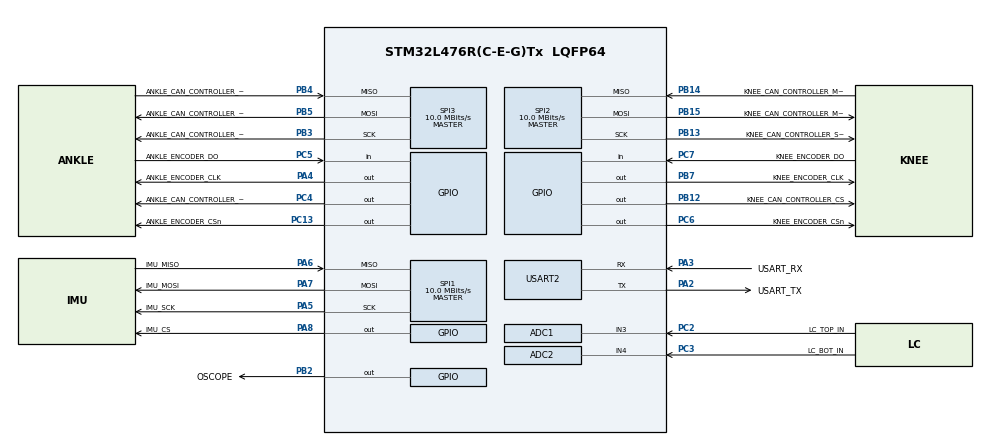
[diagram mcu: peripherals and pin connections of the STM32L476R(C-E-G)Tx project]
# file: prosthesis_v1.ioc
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ADC1.Channel-5\#ChannelRegularConversion=ADC_CHANNEL_3
ADC1.NbrOfConversionFlag=1
ADC1.OffsetNumber-5\#ChannelRegularConversion=ADC_OFFSET_NONE
ADC1.Rank-5\#ChannelRegularConversion=1
ADC1.SamplingTime-5\#ChannelRegularConversion=ADC_SAMPLETIME_2CYCLES_5
ADC1.master=1
ADC2.Channel-1\#ChannelRegularConversion=ADC_CHANNEL_4
ADC2.NbrOfConversionFlag=1
ADC2.OffsetNumber-1\#ChannelRegularConversion=ADC_OFFSET_NONE
ADC2.Rank-1\#ChannelRegularConversion=1
ADC2.SamplingTime-1\#ChannelRegularConversion=ADC_SAMPLETIME_2CYCLES_5
LPTIM2.ClockPrescaler=LPTIM_PRESCALER_DIV1
Mcu.Family=STM32L4
Mcu.Name=STM32L476R(C-E-G)Tx
Mcu.Package=LQFP64
NVIC.LPTIM2_IRQn=true\:0\:0\:false\:false\:true\:true\:true\:true
NVIC.PriorityGroup=NVIC_PRIORITYGROUP_4
PA13\ (JTMS-SWDIO).GPIO_Label=TMS
PA13\ (JTMS-SWDIO).Mode=Serial_Wire
PA13\ (JTMS-SWDIO).Signal=SYS_JTMS-SWDIO
PA14\ (JTCK-SWCLK).GPIO_Label=TCK
PA14\ (JTCK-SWCLK).Mode=Serial_Wire
PA14\ (JTCK-SWCLK).Signal=SYS_JTCK-SWCLK
PA2.GPIO_Label=USART_TX
PA2.GPIO_Mode=GPIO_MODE_AF_PP
PA2.GPIO_PuPd=GPIO_NOPULL
PA2.GPIO_Speed=GPIO_SPEED_FREQ_VERY_HIGH
PA2.Mode=Asynchronous
PA2.Signal=USART2_TX
PA3.GPIO_Label=USART_RX
PA3.GPIO_Mode=GPIO_MODE_AF_PP
PA3.GPIO_PuPd=GPIO_NOPULL
PA3.GPIO_Speed=GPIO_SPEED_FREQ_VERY_HIGH
PA3.Mode=Asynchronous
PA3.Signal=USART2_RX
PA4.GPIO_Label=ANKLE_ENCODER_CLK
PA4.Signal=GPIO_Output
PA5.GPIO_Label=IMU_SCK
PA5.Mode=Full_Duplex_Master
PA5.Signal=SPI1_SCK
PA6.GPIO_Label=IMU_MISO
PA6.Mode=Full_Duplex_Master
PA6.Signal=SPI1_MISO
PA7.GPIO_Label=IMU_MOSI
PA7.Mode=Full_Duplex_Master
PA7.Signal=SPI1_MOSI
PA8.GPIO_Label=IMU_CS
PA8.Signal=GPIO_Output
PB12.GPIO_Label=KNEE_CAN_CONTROLLER_CS
PB12.Signal=GPIO_Output
PB13.GPIO_Label=KNEE_CAN_CONTROLLER_SCK
PB13.Mode=Full_Duplex_Master
PB13.Signal=SPI2_SCK
PB14.GPIO_Label=KNEE_CAN_CONTROLLER_MISO
PB14.Mode=Full_Duplex_Master
PB14.Signal=SPI2_MISO
PB15.GPIO_Label=KNEE_CAN_CONTROLLER_MOSI
PB15.Mode=Full_Duplex_Master
PB15.Signal=SPI2_MOSI
PB2.GPIO_Label=OSCOPE
PB2.Signal=GPIO_Output
PB3\ (JTDO-TRACESWO).GPIO_Label=ANKLE_CAN_CONTROLLER_SCK
PB3\ (JTDO-TRACESWO).Mode=Full_Duplex_Master
PB3\ (JTDO-TRACESWO).Signal=SPI3_SCK
PB4\ (NJTRST).GPIO_Label=ANKLE_CAN_CONTROLLER_MISO
PB4\ (NJTRST).Mode=Full_Duplex_Master
PB4\ (NJTRST).Signal=SPI3_MISO
PB5.GPIO_Label=ANKLE_CAN_CONTROLLER_MOSI
PB5.Mode=Full_Duplex_Master
PB5.Signal=SPI3_MOSI
PB7.GPIO_Label=KNEE_ENCODER_CLK
PB7.Signal=GPIO_Output
PC13.GPIO_Label=ANKLE_ENCODER_CSn
PC13.Signal=GPIO_Output
PC14-OSC32_IN\ (PC14).Mode=LSE-External-Oscillator
PC14-OSC32_IN\ (PC14).Signal=RCC_OSC32_IN
PC15-OSC32_OUT\ (PC15).Mode=LSE-External-Oscillator
PC15-OSC32_OUT\ (PC15).Signal=RCC_OSC32_OUT
PC2.GPIO_Label=LC_TOP_IN
PC2.Signal=ADCx_IN3
PC3.GPIO_Label=LC_BOT_IN
PC3.Signal=ADCx_IN4
PC4.GPIO_Label=ANKLE_CAN_CONTROLLER_CS
PC4.Signal=GPIO_Output
PC5.GPIO_Label=ANKLE_ENCODER_DO
PC5.Signal=GPIO_Input
PC6.GPIO_Label=KNEE_ENCODER_CSn
PC6.Signal=GPIO_Output
PC7.GPIO_Label=KNEE_ENCODER_DO 
PC7.Signal=GPIO_Input
ProjectManager.HeapSize=0x200
ProjectManager.StackSize=0x400
ProjectManager.TargetToolchain=STM32CubeIDE
RCC.ADCCLockSelection=RCC_ADCCLKSOURCE_SYSCLK
RCC.ADCFreq_Value=80000000
RCC.AHBFreq_Value=80000000
RCC.APB1CLKDivider=RCC_HCLK_DIV2
RCC.APB1Freq_Value=40000000
RCC.APB1TimFreq_Value=80000000
RCC.APB2CLKDivider=RCC_HCLK_DIV2
RCC.APB2Freq_Value=40000000
RCC.APB2TimFreq_Value=80000000
RCC.CortexFreq_Value=80000000
RCC.HCLKFreq_Value=80000000
RCC.HSE_VALUE=8000000
RCC.HSI_VALUE=16000000
RCC.LPTIM2CLockSelection=RCC_LPTIM2CLKSOURCE_LSE
RCC.MSIClockRange=RCC_MSIRANGE_11
RCC.MSI_VALUE=48000000
RCC.PLLM=6
RCC.PLLN=40
RCC.PLLR=RCC_PLLR_DIV4
RCC.PREFETCH_ENABLE=1
RCC.SYSCLKFreq_VALUE=80000000
RCC.SYSCLKSource=RCC_SYSCLKSOURCE_PLLCLK
RCC.USBFreq_Value=32000000
RCC.VCOOutputFreq_Value=320000000
SH.ADCx_IN3.0=ADC1_IN3,IN3-Single-Ended
SH.ADCx_IN4.0=ADC2_IN4,IN4-Single-Ended
SPI1.BaudRatePrescaler=SPI_BAUDRATEPRESCALER_4
SPI1.CLKPhase=SPI_PHASE_2EDGE
SPI1.CLKPolarity=SPI_POLARITY_HIGH
SPI1.CRCCalculation=SPI_CRCCALCULATION_DISABLE
SPI1.CalculateBaudRate=10.0 MBits/s
SPI1.DataSize=SPI_DATASIZE_8BIT
SPI1.Direction=SPI_DIRECTION_2LINES
SPI1.Mode=SPI_MODE_MASTER
SPI1.VirtualType=VM_MASTER
SPI2.BaudRatePrescaler=SPI_BAUDRATEPRESCALER_4
SPI2.CLKPhase=SPI_PHASE_2EDGE
SPI2.CLKPolarity=SPI_POLARITY_HIGH
SPI2.CalculateBaudRate=10.0 MBits/s
SPI2.DataSize=SPI_DATASIZE_8BIT
SPI2.Direction=SPI_DIRECTION_2LINES
SPI2.Mode=SPI_MODE_MASTER
SPI2.VirtualType=VM_MASTER
SPI3.BaudRatePrescaler=SPI_BAUDRATEPRESCALER_4
SPI3.CLKPhase=SPI_PHASE_2EDGE
SPI3.CLKPolarity=SPI_POLARITY_HIGH
SPI3.CalculateBaudRate=10.0 MBits/s
SPI3.DataSize=SPI_DATASIZE_8BIT
SPI3.Direction=SPI_DIRECTION_2LINES
SPI3.Mode=SPI_MODE_MASTER
SPI3.VirtualType=VM_MASTER
TIM6.Prescaler=7
USART2.VirtualMode-Asynchronous=VM_ASYNC
VP_LPTIM2_VS_LPTIM_counterModeInternalClock.Mode=Counts__internal_clock_event_00
VP_TIM6_VS_ClockSourceINT.Mode=Enable_Timer
board=NUCLEO-L476RG

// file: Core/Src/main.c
/* USER CODE BEGIN Header */

/*******************************************************************************
*
* TITLE: Prosthesis v1 Firmware
*
* NOTES
* 1. IMPORTANT: A new encoder bias position must be found and defined whenever the magnet is reassembled into the device.
*    The bias can be found by logging data in CubeMonitor and averaging the encoder values.
* 2. The below lines can be used to measure PB2 on oscilloscope (#include main.h may need to be added to certain files):
*		- LL_GPIO_SetOutputPin(OSCOPE_GPIO_Port, OSCOPE_Pin);
*		- LL_GPIO_ResetOutputPin(OSCOPE_GPIO_Port, OSCOPE_Pin);
*		- LL_GPIO_TogglePin(OSCOPE_GPIO_Port, OSCOPE_Pin);
* 3. Search -> File on "* USER ADDED " will show code added to MX auto-generated files.
*
*******************************************************************************/

/* USER CODE END Header */
#include "main.h"
#include "adc.h"
#include "lptim.h"
#include "spi.h"
#include "tim.h"
#include "usart.h"
#include "gpio.h"

void SystemClock_Config(void);

/* USER CODE BEGIN 0 */

/*******************************************************************************
* USER ADDED MAIN.C
*******************************************************************************/

#include "as5145b.h"
#include "epos4.h"
#include "error_handler.h"
#include "mcp25625.h"
#include "mpu925x_spi.h"
#include "stm32l4xx_ll_tim.h"
#include <string.h>

#define LPTIM2_PERIOD 0x3F	// Timer frequency = timer clock frequency / (prescaler * (period + 1))

Prosthesis_Init_t Prosthesis_Init;

/******************************************************************************/

/* USER CODE END 0 */

int main(void)
{

  /* MCU Configuration--------------------------------------------------------*/

  /* Reset of all peripherals, Initializes the Flash interface and the Systick. */
  LL_APB2_GRP1_EnableClock(LL_APB2_GRP1_PERIPH_SYSCFG);
  LL_APB1_GRP1_EnableClock(LL_APB1_GRP1_PERIPH_PWR);

  /* System interrupt init*/
  NVIC_SetPriorityGrouping(NVIC_PRIORITYGROUP_4);

  /* Configure the system clock */
  SystemClock_Config();

  /* Initialize all configured peripherals */
  MX_GPIO_Init();
  MX_USART2_UART_Init();
  MX_SPI1_Init();
  MX_LPTIM2_Init();
  MX_SPI2_Init();
  MX_ADC2_Init();
  MX_ADC1_Init();
  MX_TIM6_Init();
  MX_SPI3_Init();

  /* Infinite loop */
  /* USER CODE BEGIN WHILE */

/*******************************************************************************
* USER ADDED DEFINITIONS
*******************************************************************************/

	AS5145B_Init_t Encoder_Init[AS5145B_NUMBER_OF_DEVICES];
	Encoder_Init[AnkleEncoderIndex].DO_GPIOx = ANKLE_ENCODER_DO_GPIO_Port;
	Encoder_Init[AnkleEncoderIndex].CLK_GPIOx = ANKLE_ENCODER_CLK_GPIO_Port;
	Encoder_Init[AnkleEncoderIndex].CSn_GPIOx = ANKLE_ENCODER_CSn_GPIO_Port;
	Encoder_Init[AnkleEncoderIndex].DO_Pin = ANKLE_ENCODER_DO_Pin;
	Encoder_Init[AnkleEncoderIndex].CLK_Pin = ANKLE_ENCODER_CLK_Pin;
	Encoder_Init[AnkleEncoderIndex].CSn_Pin = ANKLE_ENCODER_CSn_Pin;
	Encoder_Init[AnkleEncoderIndex].TIMx = TIM6;
	Encoder_Init[AnkleEncoderIndex].timerRateMHz = 10;

	memcpy(&Encoder_Init[KneeEncoderIndex], &Encoder_Init[AnkleEncoderIndex], sizeof(Encoder_Init[AnkleEncoderIndex]));
	Encoder_Init[KneeEncoderIndex].DO_GPIOx = KNEE_ENCODER_DO_GPIO_Port;
	Encoder_Init[KneeEncoderIndex].CLK_GPIOx = KNEE_ENCODER_CLK_GPIO_Port;
	Encoder_Init[KneeEncoderIndex].CSn_GPIOx = KNEE_ENCODER_CSn_GPIO_Port;
	Encoder_Init[KneeEncoderIndex].DO_Pin = KNEE_ENCODER_DO_Pin;
	Encoder_Init[KneeEncoderIndex].CLK_Pin = KNEE_ENCODER_CLK_Pin;
	Encoder_Init[KneeEncoderIndex].CSn_Pin = KNEE_ENCODER_CSn_Pin;

	EPOS4_Init_t MotorController_Init[EPOS4_NUMBER_OF_DEVICES];
	MotorController_Init[AnkleMotorControllerIndex].nodeId = 2;
	MotorController_Init[AnkleMotorControllerIndex].mcpIndex = AnkleCAN_ControllerIndex;
	MotorController_Init[AnkleMotorControllerIndex].Requirements.isFirstStepRequired = 1;
	MotorController_Init[AnkleMotorControllerIndex].Requirements.isModeOfOperationRequired = 1;
	MotorController_Init[AnkleMotorControllerIndex].FirstStep.CAN_BitRate = EPOS4_Rate1000Kbps;
	MotorController_Init[AnkleMotorControllerIndex].FirstStep.MotorType = EPOS4_TrapezoidalPmBlMotor;
	MotorController_Init[AnkleMotorControllerIndex].FirstStep.nominalCurrent = 8000;
	MotorController_Init[AnkleMotorControllerIndex].FirstStep.outputCurrentLimit = 29300;
	MotorController_Init[AnkleMotorControllerIndex].FirstStep.numberOfPolePairs = 21;
	MotorController_Init[AnkleMotorControllerIndex].FirstStep.thermalTimeConstantWinding = 400;
	MotorController_Init[AnkleMotorControllerIndex].FirstStep.torqueConstant = 60 / (2 * 3.1416f * 100) * 1000000;	// For Kv = 100 rpm/V
	MotorController_Init[AnkleMotorControllerIndex].FirstStep.maxMotorSpeed = 2384;
	MotorController_Init[AnkleMotorControllerIndex].FirstStep.maxGearInputSpeed = 100000;
	MotorController_Init[AnkleMotorControllerIndex].FirstStep.sensorsConfiguration = 0x00100000;
	MotorController_Init[AnkleMotorControllerIndex].FirstStep.controlStructure = 0x00030111;
	MotorController_Init[AnkleMotorControllerIndex].FirstStep.commutationSensors = 0x00000030;
	MotorController_Init[AnkleMotorControllerIndex].FirstStep.axisConfigMiscellaneous = 0x00000000;
	MotorController_Init[AnkleMotorControllerIndex].FirstStep.currentControllerP_Gain = 643609;
	MotorController_Init[AnkleMotorControllerIndex].FirstStep.currentControllerI_Gain = 2791837;
	MotorController_Init[AnkleMotorControllerIndex].ModeOfOperation = EPOS4_CyclicSynchronousTorqueMode;

	memcpy(&MotorController_Init[KneeMotorControllerIndex], &MotorController_Init[AnkleMotorControllerIndex], sizeof(MotorController_Init[AnkleMotorControllerIndex]));
	MotorController_Init[KneeMotorControllerIndex].nodeId = 1;
	MotorController_Init[KneeMotorControllerIndex].mcpIndex = KneeCAN_ControllerIndex;

  	MCP25625_Init_t CAN_Controller_Init[MCP25625_NUMBER_OF_DEVICES];
  	memset(&CAN_Controller_Init, 0, sizeof(CAN_Controller_Init));
  	CAN_Controller_Init[AnkleCAN_ControllerIndex].SPIx = SPI3;
  	CAN_Controller_Init[AnkleCAN_ControllerIndex].CS_Port = ANKLE_CAN_CONTROLLER_CS_GPIO_Port;
  	CAN_Controller_Init[AnkleCAN_ControllerIndex].csPin = ANKLE_CAN_CONTROLLER_CS_Pin;
  	CAN_Controller_Init[AnkleCAN_ControllerIndex].CANCTRL_Reg.Bits.CLKEN = MCP25625_ClockoutDisabled;
  	CAN_Controller_Init[AnkleCAN_ControllerIndex].CANCTRL_Reg.Bits.OSM = MCP25625_OneShotModeEnabled;
  	CAN_Controller_Init[AnkleCAN_ControllerIndex].CANCTRL_Reg.Bits.ABAT = MCP25625_AbortAllTransmissions;
  	CAN_Controller_Init[AnkleCAN_ControllerIndex].CANCTRL_Reg.Bits.REQOP = MCP25625_NormalOperationMode;
  	CAN_Controller_Init[AnkleCAN_ControllerIndex].CNF1_Reg.Bits.BRP = 0;
  	CAN_Controller_Init[AnkleCAN_ControllerIndex].CNF1_Reg.Bits.SJW = MCP25625_Length1xT_Q;
  	CAN_Controller_Init[AnkleCAN_ControllerIndex].CNF2_Reg.Bits.PRSEG = 4;
  	CAN_Controller_Init[AnkleCAN_ControllerIndex].CNF2_Reg.Bits.PHSEG1 = 1;
  	CAN_Controller_Init[AnkleCAN_ControllerIndex].CNF2_Reg.Bits.SAM = MCP25625_BusSampledOnceAtSamplePoint;
  	CAN_Controller_Init[AnkleCAN_ControllerIndex].CNF2_Reg.Bits.BLTMODE = MCP25625_PS2LengthDeterminedByCNF3;
  	CAN_Controller_Init[AnkleCAN_ControllerIndex].CNF3_Reg.Bits.PHSEG2 = 1;
  	CAN_Controller_Init[AnkleCAN_ControllerIndex].CNF3_Reg.Bits.WAKFIL = MCP25625_WakeUpFilterIsDisabled;
  	CAN_Controller_Init[AnkleCAN_ControllerIndex].CNF3_Reg.Bits.SOF = MCP25625_ClockoutPinIsEnabledForClockOutFunction;

  	memcpy(&CAN_Controller_Init[KneeCAN_ControllerIndex], &CAN_Controller_Init[AnkleCAN_ControllerIndex], sizeof(CAN_Controller_Init[AnkleCAN_ControllerIndex]));
  	CAN_Controller_Init[KneeCAN_ControllerIndex].SPIx = SPI2;
  	CAN_Controller_Init[KneeCAN_ControllerIndex].CS_Port = KNEE_CAN_CONTROLLER_CS_GPIO_Port;
  	CAN_Controller_Init[KneeCAN_ControllerIndex].csPin = KNEE_CAN_CONTROLLER_CS_Pin;

  	MPU925x_Init_t IMU_Init;
  	IMU_Init.SPI_Handle = SPI1;
  	IMU_Init.CS_GPIOx = IMU_CS_GPIO_Port;
  	IMU_Init.csPin = IMU_CS_Pin;

  	Prosthesis_Init.Joint = Combined;
  	Prosthesis_Init.Side = Left;

/*******************************************************************************
* USER ADDED INITIALIZATIONS
*******************************************************************************/

	LL_SYSTICK_EnableIT();

	LL_LPTIM_Enable(LPTIM2);
	LL_LPTIM_EnableIT_ARRM(LPTIM2);
	LL_LPTIM_SetAutoReload(LPTIM2, LPTIM2_PERIOD);
	LL_LPTIM_StartCounter(LPTIM2, LL_LPTIM_OPERATING_MODE_CONTINUOUS);

	LL_TIM_EnableCounter(TIM6);

	LL_SPI_Enable(SPI1);
	LL_SPI_Enable(SPI2);
	LL_SPI_Enable(SPI3);
	LL_ADC_Enable(ADC1);
	LL_ADC_Enable(ADC2);

	LL_mDelay(4000);	// Significant delay when powering on EPOS4

	MPU925x_Error_e imuError = MPU925x_Init(0, &IMU_Init);
	if(imuError)
		ErrorHandler_MPU925x(imuError);
	MPU925x_SetAccelSensitivity(0, MPU925x_AccelSensitivity_8g);
	MPU925x_SetGyroSensitivity(0, MPU925x_GyroSensitivity_1000dps);

	if((Prosthesis_Init.Joint == Ankle) || (Prosthesis_Init.Joint == Combined))
	{
		AS5145B_Error_e encoderError = AS5145B_Init(AnkleEncoderIndex, &Encoder_Init[AnkleEncoderIndex]);
		if(encoderError)
			ErrorHandler_AS5145B(AnkleEncoderIndex, encoderError);

		MCP25625_Error_e canControllerError = MCP25625_Init(AnkleCAN_ControllerIndex, &CAN_Controller_Init[AnkleCAN_ControllerIndex]);
		if(canControllerError)
			ErrorHandler_MCP25625(AnkleCAN_ControllerIndex, canControllerError);

		EPOS4_Error_e motorControllerError = EPOS4_Init(AnkleMotorControllerIndex, &MotorController_Init[AnkleMotorControllerIndex]);
		if(motorControllerError)
			ErrorHandler_EPOS4(AnkleMotorControllerIndex, motorControllerError);
	}

	if((Prosthesis_Init.Joint == Knee) || (Prosthesis_Init.Joint == Combined))
	{
		AS5145B_Error_e encoderError = AS5145B_Init(KneeEncoderIndex, &Encoder_Init[KneeEncoderIndex]);
		if(encoderError)
			ErrorHandler_AS5145B(KneeEncoderIndex, encoderError);

		MCP25625_Error_e canControllerError = MCP25625_Init(KneeCAN_ControllerIndex, &CAN_Controller_Init[KneeCAN_ControllerIndex]);
		if(canControllerError)
			ErrorHandler_MCP25625(KneeCAN_ControllerIndex, canControllerError);

		EPOS4_Error_e motorControllerError = EPOS4_Init(KneeMotorControllerIndex, &MotorController_Init[KneeMotorControllerIndex]);
		if(motorControllerError)
			ErrorHandler_EPOS4(KneeMotorControllerIndex, motorControllerError);
	}

	InitProsthesisControl(&Prosthesis_Init);

/*******************************************************************************
* USER ADDED TEST PROGRAMS
*******************************************************************************/

	RequireTestProgram(ImpedanceControl);

/*******************************************************************************
* USER ADDED MAIN LOOP
*******************************************************************************/

  while(1)
  {
	  if(isProsthesisControlRequired)
	  {
		  RunProsthesisControl();
		  isProsthesisControlRequired = 0;
	  }

/******************************************************************************/

    /* USER CODE END WHILE */

  }
}

void SystemClock_Config(void)
{
  LL_FLASH_SetLatency(LL_FLASH_LATENCY_4);
  while(LL_FLASH_GetLatency()!= LL_FLASH_LATENCY_4)
  {
  }
  LL_PWR_SetRegulVoltageScaling(LL_PWR_REGU_VOLTAGE_SCALE1);
  while (LL_PWR_IsActiveFlag_VOS() != 0)
  {
  }
  LL_RCC_MSI_Enable();

   /* Wait till MSI is ready */
  while(LL_RCC_MSI_IsReady() != 1)
  {

  }
  LL_RCC_MSI_EnableRangeSelection();
  LL_RCC_MSI_SetRange(LL_RCC_MSIRANGE_11);
  LL_RCC_MSI_SetCalibTrimming(0);
  LL_PWR_EnableBkUpAccess();
  LL_RCC_LSE_SetDriveCapability(LL_RCC_LSEDRIVE_LOW);
  LL_RCC_LSE_Enable();

   /* Wait till LSE is ready */
  while(LL_RCC_LSE_IsReady() != 1)
  {

  }
  LL_RCC_MSI_EnablePLLMode();
  LL_RCC_PLL_ConfigDomain_SYS(LL_RCC_PLLSOURCE_MSI, LL_RCC_PLLM_DIV_6, 40, LL_RCC_PLLR_DIV_4);
  LL_RCC_PLL_EnableDomain_SYS();
  LL_RCC_PLL_Enable();

   /* Wait till PLL is ready */
  while(LL_RCC_PLL_IsReady() != 1)
  {

  }
  LL_RCC_SetSysClkSource(LL_RCC_SYS_CLKSOURCE_PLL);

   /* Wait till System clock is ready */
  while(LL_RCC_GetSysClkSource() != LL_RCC_SYS_CLKSOURCE_STATUS_PLL)
  {

  }
  LL_RCC_SetAHBPrescaler(LL_RCC_SYSCLK_DIV_1);
  LL_RCC_SetAPB1Prescaler(LL_RCC_APB1_DIV_2);
  LL_RCC_SetAPB2Prescaler(LL_RCC_APB2_DIV_2);

  LL_Init1msTick(80000000);

  LL_SetSystemCoreClock(80000000);
}

void Error_Handler(void)
{
  __disable_irq();
  while (1)
  {
  }
}
